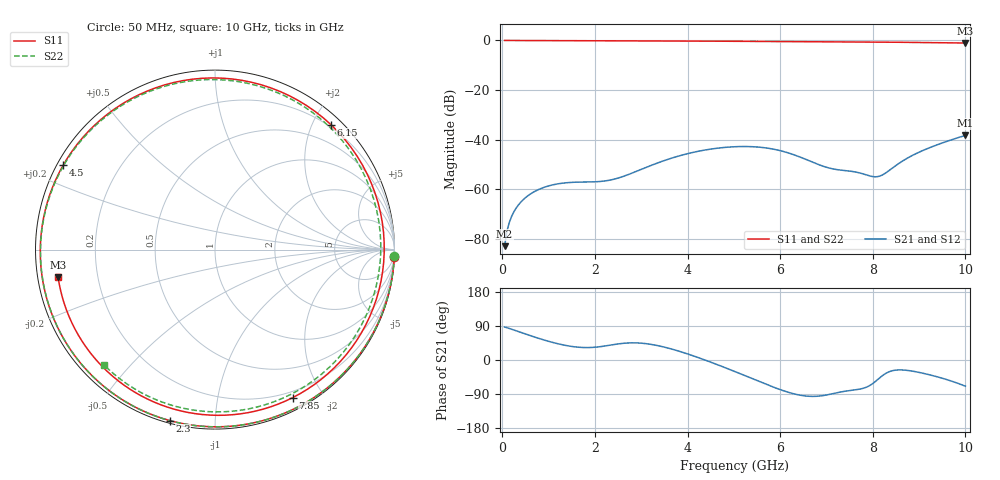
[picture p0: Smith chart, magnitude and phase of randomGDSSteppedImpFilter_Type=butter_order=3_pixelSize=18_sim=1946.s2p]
! freq	dB(S11)	phase(S11)	dB(S12)	phase(S12)
!  dB(S21)	phase(S21)	dB(S22)	phase(S22)
!S-par simulation data
#  GHz  S  DB  R 50
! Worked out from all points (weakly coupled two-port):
!   200 points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, 50 MHz to 10 GHz, reference 50 ohm
!   highest |S21| = -38.34 dB at 10 GHz (marker M1); lowest = -83.0 dB at 50 MHz (marker M2)
!   lowest |S11| = -1.0 dB at 10 GHz (marker M3), VSWR 16.79, Z = 3 - j4.35 ohm
!   |S11| at or under -10 dB: nowhere
!   |S22| runs from -1.0 to 0.0 dB; largest |S21 - S12| = 0
!   S11 on the Smith chart (normalised r, x): 50 MHz: 0, -48; 2.3 GHz: 0.01, -0.77; 4.5 GHz: 0.02, +0.26; 6.15 GHz: 0.16, +2.29; 7.85 GHz: 0.13, -1.65; 10 GHz: 0.06, -0.09
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0.05  -0.00 -2.4  -83.03 87.1  -83.03 87.1  -0.00 -2.1
0.25  -0.01 -11.8  -69.17 79.0  -69.17 79.0  -0.01 -10.3
0.55  -0.03 -25.7  -62.72 66.5  -62.72 66.5  -0.03 -22.5
1.05  -0.06 -48.8  -58.46 47.6  -58.46 47.6  -0.05 -42.6
1.75  -0.10 -80.4  -57.15 32.9  -57.15 32.9  -0.09 -69.8
2.3  -0.13 -104.8  -56.46 38.6  -56.46 38.6  -0.11 -90.3
2.85  -0.16 -129.2  -53.18 45.3  -53.18 45.3  -0.13 -110.2
3.4  -0.19 -154.2  -49.12 36.8  -49.12 36.8  -0.16 -129.7
3.95  -0.23 179.5  -45.93 18.1  -45.93 18.1  -0.19 -149.4
4.5  -0.28 150.9  -43.85 -5.6  -43.85 -5.6  -0.22 -169.7
5.05  -0.34 119.4  -42.87 -31.8  -42.87 -31.8  -0.27 168.4
5.6  -0.40 84.5  -43.16 -59.3  -43.16 -59.3  -0.33 144.0
6.15  -0.45 47.1  -45.24 -84.2  -45.24 -84.2  -0.40 115.9
6.7  -0.50 9.2  -49.12 -96.1  -49.12 -96.1  -0.49 82.6
7  -0.52 -10.7  -51.19 -92.4  -51.19 -92.4  -0.54 62.2
7.35  -0.56 -32.9  -52.43 -83.4  -52.43 -83.4  -0.61 36.6
7.85  -0.62 -62.2  -54.20 -72.3  -54.20 -72.3  -0.69 -1.6
8.1  -0.65 -75.9  -54.98 -52.2  -54.98 -52.2  -0.73 -20.5
8.35  -0.69 -89.1  -52.55 -31.2  -52.55 -31.2  -0.77 -38.7
8.7  -0.75 -106.8  -48.01 -26.8  -48.01 -26.8  -0.81 -62.5
9.1  -0.83 -126.3  -44.26 -35.4  -44.26 -35.4  -0.87 -87.2
10  -1.04 -170.0  -38.34 -69.1  -38.34 -69.1  -1.00 -133.9
